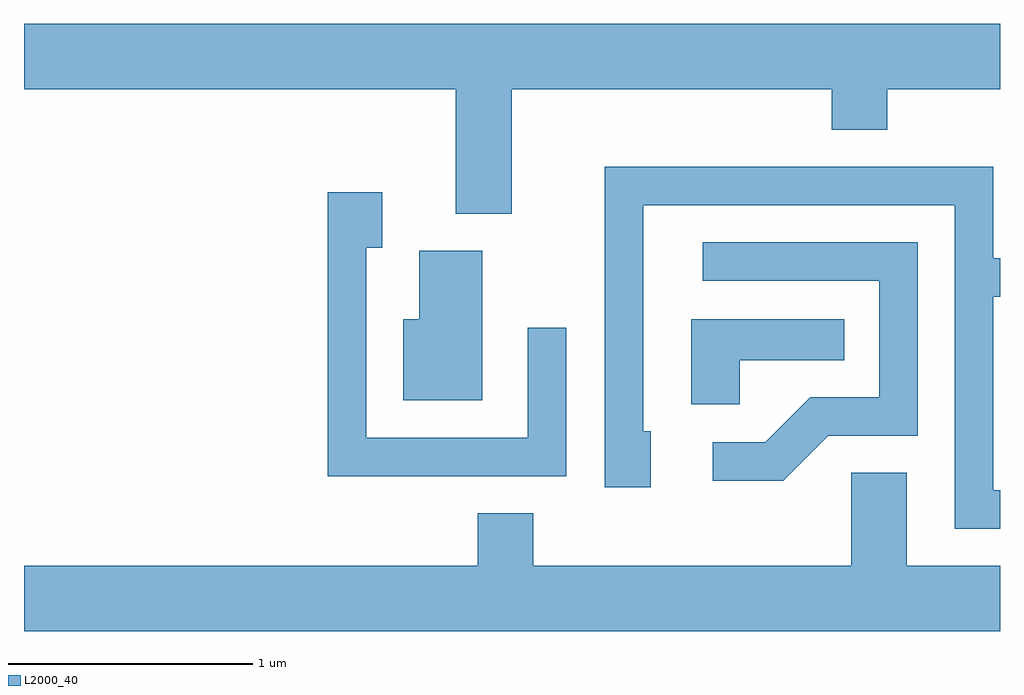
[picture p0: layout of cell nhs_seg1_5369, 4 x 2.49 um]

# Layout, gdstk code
import gdstk
lib = gdstk.Library(unit=1e-6, precision=1e-09)
def P(c, l, *ps):  # polygons
    for p in ps: c.add(gdstk.Polygon(p, *l))
L2000_40 = (2000, 40)

nhs_seg1_5369 = lib.new_cell('nhs_seg1_5369')
P(nhs_seg1_5369, L2000_40, [(349.609,857.396),(350.921,857.396),(350.921,857.231),(351.149,857.231),(351.149,857.396),(351.611,857.396),(351.611,857.664),(347.611,857.664),(347.611,857.396),(349.381,857.396),(349.381,856.886),(349.609,856.886)],
  [(351.611,855.754),(351.584,855.754),(351.584,856.546),(351.611,856.546),(351.611,856.704),(351.584,856.704),(351.584,857.079),(349.991,857.079),(349.991,855.766),(350.179,855.766),(350.179,855.994),(350.149,855.994),(350.149,856.921),(351.426,856.921),(351.426,855.596),(351.611,855.596)],
  [(349.834,856.418),(349.676,856.418),(349.676,855.969),(349.014,855.969),(349.014,856.746),(349.079,856.746),(349.079,856.974),(348.856,856.974),(348.856,855.811),(349.834,855.811)],
  [(350.907,855.976),(351.274,855.976),(351.274,856.769),(350.393,856.769),(350.393,856.611),(351.116,856.611),(351.116,856.134),(350.834,856.134),(350.649,855.949),(350.433,855.949),(350.433,855.791),(350.722,855.791)],
  [(349.489,856.734),(349.231,856.734),(349.231,856.454),(349.166,856.454),(349.166,856.121),(349.489,856.121)],
  [(350.544,856.286),(350.973,856.286),(350.973,856.454),(350.346,856.454),(350.346,856.106),(350.544,856.106)],
  [(351.611,855.444),(351.229,855.444),(351.229,855.824),(351.001,855.824),(351.001,855.444),(349.699,855.444),(349.699,855.659),(349.471,855.659),(349.471,855.444),(347.611,855.444),(347.611,855.176),(351.611,855.176)])

lib.write_gds('nhs_seg1_5369.gds')
